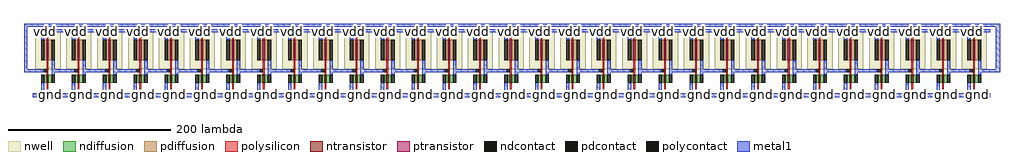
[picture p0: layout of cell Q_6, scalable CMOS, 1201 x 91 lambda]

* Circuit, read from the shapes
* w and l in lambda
.subckt Q_6 gnd vdd
M1 n1 n2 gnd VSUBS nfet w=10 l=2
M2 n3 n1 gnd VSUBS nfet w=10 l=2
M3 n4 n3 gnd VSUBS nfet w=10 l=2
M4 n5 n4 gnd VSUBS nfet w=10 l=2
M5 n6 n5 gnd VSUBS nfet w=10 l=2
M6 n7 n6 gnd VSUBS nfet w=10 l=2
M7 n8 n7 gnd VSUBS nfet w=10 l=2
M8 n9 n8 gnd VSUBS nfet w=10 l=2
M9 n10 n9 gnd VSUBS nfet w=10 l=2
M10 n11 n10 gnd VSUBS nfet w=10 l=2
M11 n12 n11 gnd VSUBS nfet w=10 l=2
M12 n13 n12 gnd VSUBS nfet w=10 l=2
M13 n14 n13 gnd VSUBS nfet w=10 l=2
M14 n15 n14 gnd VSUBS nfet w=10 l=2
M15 n16 n15 gnd VSUBS nfet w=10 l=2
M16 n17 n16 gnd VSUBS nfet w=10 l=2
M17 n18 n17 gnd VSUBS nfet w=10 l=2
M18 n19 n18 gnd VSUBS nfet w=10 l=2
M19 n20 n19 gnd VSUBS nfet w=10 l=2
M20 n21 n20 gnd VSUBS nfet w=10 l=2
M21 n22 n21 gnd VSUBS nfet w=10 l=2
M22 n23 n22 gnd VSUBS nfet w=10 l=2
M23 n24 n23 gnd VSUBS nfet w=10 l=2
M24 n25 n24 gnd VSUBS nfet w=10 l=2
M25 n26 n25 gnd VSUBS nfet w=10 l=2
M26 n27 n26 gnd VSUBS nfet w=10 l=2
M27 n28 n27 gnd VSUBS nfet w=10 l=2
M28 n29 n28 gnd VSUBS nfet w=10 l=2
M29 n30 n29 gnd VSUBS nfet w=10 l=2
M30 n31 n30 gnd VSUBS nfet w=10 l=2
M31 n2 n31 gnd VSUBS nfet w=10 l=2
M32 n1 n2 vdd n32 pfet w=25 l=2
M33 n3 n1 vdd n33 pfet w=25 l=2
M34 n4 n3 vdd n34 pfet w=25 l=2
M35 n5 n4 vdd n35 pfet w=25 l=2
M36 n6 n5 vdd n36 pfet w=25 l=2
M37 n7 n6 vdd n37 pfet w=25 l=2
M38 n8 n7 vdd n38 pfet w=25 l=2
M39 n9 n8 vdd n39 pfet w=25 l=2
M40 n10 n9 vdd n40 pfet w=25 l=2
M41 n11 n10 vdd n41 pfet w=25 l=2
M42 n12 n11 vdd n42 pfet w=25 l=2
M43 n13 n12 vdd n43 pfet w=25 l=2
M44 n14 n13 vdd n44 pfet w=25 l=2
M45 n15 n14 vdd n45 pfet w=25 l=2
M46 n16 n15 vdd n46 pfet w=25 l=2
M47 n17 n16 vdd n47 pfet w=25 l=2
M48 n18 n17 vdd n48 pfet w=25 l=2
M49 n19 n18 vdd n49 pfet w=25 l=2
M50 n20 n19 vdd n50 pfet w=25 l=2
M51 n21 n20 vdd n51 pfet w=25 l=2
M52 n22 n21 vdd n52 pfet w=25 l=2
M53 n23 n22 vdd n53 pfet w=25 l=2
M54 n24 n23 vdd n54 pfet w=25 l=2
M55 n25 n24 vdd n55 pfet w=25 l=2
M56 n26 n25 vdd n56 pfet w=25 l=2
M57 n27 n26 vdd n57 pfet w=25 l=2
M58 n28 n27 vdd n58 pfet w=25 l=2
M59 n29 n28 vdd n59 pfet w=25 l=2
M60 n30 n29 vdd n60 pfet w=25 l=2
M61 n31 n30 vdd n61 pfet w=25 l=2
M62 n2 n31 vdd n62 pfet w=25 l=2
.ends

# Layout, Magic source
magic
tech scmos
<< nwell >>
rect -14 -10 17 36
rect 24 -10 55 36
rect 62 -10 93 36
rect 100 -10 131 36
rect 138 -10 169 36
rect 176 -10 207 36
rect 214 -10 245 36
rect 252 -10 283 36
rect 290 -10 321 36
rect 328 -10 359 36
rect 366 -10 397 36
rect 404 -10 435 36
rect 442 -10 473 36
rect 480 -10 511 36
rect 518 -10 549 36
rect 556 -10 587 36
rect 594 -10 625 36
rect 632 -10 663 36
rect 670 -10 701 36
rect 708 -10 739 36
rect 746 -10 777 36
rect 784 -10 815 36
rect 822 -10 853 36
rect 860 -10 891 36
rect 898 -10 929 36
rect 936 -10 967 36
rect 974 -10 1005 36
rect 1012 -10 1043 36
rect 1050 -10 1081 36
rect 1088 -10 1119 36
rect 1126 -10 1157 36
<< ntransistor >>
rect 0 -27 2 -17
rect 38 -27 40 -17
rect 76 -27 78 -17
rect 114 -27 116 -17
rect 152 -27 154 -17
rect 190 -27 192 -17
rect 228 -27 230 -17
rect 266 -27 268 -17
rect 304 -27 306 -17
rect 342 -27 344 -17
rect 380 -27 382 -17
rect 418 -27 420 -17
rect 456 -27 458 -17
rect 494 -27 496 -17
rect 532 -27 534 -17
rect 570 -27 572 -17
rect 608 -27 610 -17
rect 646 -27 648 -17
rect 684 -27 686 -17
rect 722 -27 724 -17
rect 760 -27 762 -17
rect 798 -27 800 -17
rect 836 -27 838 -17
rect 874 -27 876 -17
rect 912 -27 914 -17
rect 950 -27 952 -17
rect 988 -27 990 -17
rect 1026 -27 1028 -17
rect 1064 -27 1066 -17
rect 1102 -27 1104 -17
rect 1140 -27 1142 -17
<< ptransistor >>
rect 0 1 2 26
rect 38 1 40 26
rect 76 1 78 26
rect 114 1 116 26
rect 152 1 154 26
rect 190 1 192 26
rect 228 1 230 26
rect 266 1 268 26
rect 304 1 306 26
rect 342 1 344 26
rect 380 1 382 26
rect 418 1 420 26
rect 456 1 458 26
rect 494 1 496 26
rect 532 1 534 26
rect 570 1 572 26
rect 608 1 610 26
rect 646 1 648 26
rect 684 1 686 26
rect 722 1 724 26
rect 760 1 762 26
rect 798 1 800 26
rect 836 1 838 26
rect 874 1 876 26
rect 912 1 914 26
rect 950 1 952 26
rect 988 1 990 26
rect 1026 1 1028 26
rect 1064 1 1066 26
rect 1102 1 1104 26
rect 1140 1 1142 26
<< ndiffusion >>
rect -3 -27 0 -17
rect 2 -27 6 -17
rect 35 -27 38 -17
rect 40 -27 44 -17
rect 73 -27 76 -17
rect 78 -27 82 -17
rect 111 -27 114 -17
rect 116 -27 120 -17
rect 149 -27 152 -17
rect 154 -27 158 -17
rect 187 -27 190 -17
rect 192 -27 196 -17
rect 225 -27 228 -17
rect 230 -27 234 -17
rect 263 -27 266 -17
rect 268 -27 272 -17
rect 301 -27 304 -17
rect 306 -27 310 -17
rect 339 -27 342 -17
rect 344 -27 348 -17
rect 377 -27 380 -17
rect 382 -27 386 -17
rect 415 -27 418 -17
rect 420 -27 424 -17
rect 453 -27 456 -17
rect 458 -27 462 -17
rect 491 -27 494 -17
rect 496 -27 500 -17
rect 529 -27 532 -17
rect 534 -27 538 -17
rect 567 -27 570 -17
rect 572 -27 576 -17
rect 605 -27 608 -17
rect 610 -27 614 -17
rect 643 -27 646 -17
rect 648 -27 652 -17
rect 681 -27 684 -17
rect 686 -27 690 -17
rect 719 -27 722 -17
rect 724 -27 728 -17
rect 757 -27 760 -17
rect 762 -27 766 -17
rect 795 -27 798 -17
rect 800 -27 804 -17
rect 833 -27 836 -17
rect 838 -27 842 -17
rect 871 -27 874 -17
rect 876 -27 880 -17
rect 909 -27 912 -17
rect 914 -27 918 -17
rect 947 -27 950 -17
rect 952 -27 956 -17
rect 985 -27 988 -17
rect 990 -27 994 -17
rect 1023 -27 1026 -17
rect 1028 -27 1032 -17
rect 1061 -27 1064 -17
rect 1066 -27 1070 -17
rect 1099 -27 1102 -17
rect 1104 -27 1108 -17
rect 1137 -27 1140 -17
rect 1142 -27 1146 -17
<< pdiffusion >>
rect -3 1 0 26
rect 2 1 6 26
rect 35 1 38 26
rect 40 1 44 26
rect 73 1 76 26
rect 78 1 82 26
rect 111 1 114 26
rect 116 1 120 26
rect 149 1 152 26
rect 154 1 158 26
rect 187 1 190 26
rect 192 1 196 26
rect 225 1 228 26
rect 230 1 234 26
rect 263 1 266 26
rect 268 1 272 26
rect 301 1 304 26
rect 306 1 310 26
rect 339 1 342 26
rect 344 1 348 26
rect 377 1 380 26
rect 382 1 386 26
rect 415 1 418 26
rect 420 1 424 26
rect 453 1 456 26
rect 458 1 462 26
rect 491 1 494 26
rect 496 1 500 26
rect 529 1 532 26
rect 534 1 538 26
rect 567 1 570 26
rect 572 1 576 26
rect 605 1 608 26
rect 610 1 614 26
rect 643 1 646 26
rect 648 1 652 26
rect 681 1 684 26
rect 686 1 690 26
rect 719 1 722 26
rect 724 1 728 26
rect 757 1 760 26
rect 762 1 766 26
rect 795 1 798 26
rect 800 1 804 26
rect 833 1 836 26
rect 838 1 842 26
rect 871 1 874 26
rect 876 1 880 26
rect 909 1 912 26
rect 914 1 918 26
rect 947 1 950 26
rect 952 1 956 26
rect 985 1 988 26
rect 990 1 994 26
rect 1023 1 1026 26
rect 1028 1 1032 26
rect 1061 1 1064 26
rect 1066 1 1070 26
rect 1099 1 1102 26
rect 1104 1 1108 26
rect 1137 1 1140 26
rect 1142 1 1146 26
<< ndcontact >>
rect -7 -27 -3 -17
rect 6 -27 10 -17
rect 31 -27 35 -17
rect 44 -27 48 -17
rect 69 -27 73 -17
rect 82 -27 86 -17
rect 107 -27 111 -17
rect 120 -27 124 -17
rect 145 -27 149 -17
rect 158 -27 162 -17
rect 183 -27 187 -17
rect 196 -27 200 -17
rect 221 -27 225 -17
rect 234 -27 238 -17
rect 259 -27 263 -17
rect 272 -27 276 -17
rect 297 -27 301 -17
rect 310 -27 314 -17
rect 335 -27 339 -17
rect 348 -27 352 -17
rect 373 -27 377 -17
rect 386 -27 390 -17
rect 411 -27 415 -17
rect 424 -27 428 -17
rect 449 -27 453 -17
rect 462 -27 466 -17
rect 487 -27 491 -17
rect 500 -27 504 -17
rect 525 -27 529 -17
rect 538 -27 542 -17
rect 563 -27 567 -17
rect 576 -27 580 -17
rect 601 -27 605 -17
rect 614 -27 618 -17
rect 639 -27 643 -17
rect 652 -27 656 -17
rect 677 -27 681 -17
rect 690 -27 694 -17
rect 715 -27 719 -17
rect 728 -27 732 -17
rect 753 -27 757 -17
rect 766 -27 770 -17
rect 791 -27 795 -17
rect 804 -27 808 -17
rect 829 -27 833 -17
rect 842 -27 846 -17
rect 867 -27 871 -17
rect 880 -27 884 -17
rect 905 -27 909 -17
rect 918 -27 922 -17
rect 943 -27 947 -17
rect 956 -27 960 -17
rect 981 -27 985 -17
rect 994 -27 998 -17
rect 1019 -27 1023 -17
rect 1032 -27 1036 -17
rect 1057 -27 1061 -17
rect 1070 -27 1074 -17
rect 1095 -27 1099 -17
rect 1108 -27 1112 -17
rect 1133 -27 1137 -17
rect 1146 -27 1150 -17
<< pdcontact >>
rect -7 1 -3 26
rect 6 1 10 26
rect 31 1 35 26
rect 44 1 48 26
rect 69 1 73 26
rect 82 1 86 26
rect 107 1 111 26
rect 120 1 124 26
rect 145 1 149 26
rect 158 1 162 26
rect 183 1 187 26
rect 196 1 200 26
rect 221 1 225 26
rect 234 1 238 26
rect 259 1 263 26
rect 272 1 276 26
rect 297 1 301 26
rect 310 1 314 26
rect 335 1 339 26
rect 348 1 352 26
rect 373 1 377 26
rect 386 1 390 26
rect 411 1 415 26
rect 424 1 428 26
rect 449 1 453 26
rect 462 1 466 26
rect 487 1 491 26
rect 500 1 504 26
rect 525 1 529 26
rect 538 1 542 26
rect 563 1 567 26
rect 576 1 580 26
rect 601 1 605 26
rect 614 1 618 26
rect 639 1 643 26
rect 652 1 656 26
rect 677 1 681 26
rect 690 1 694 26
rect 715 1 719 26
rect 728 1 732 26
rect 753 1 757 26
rect 766 1 770 26
rect 791 1 795 26
rect 804 1 808 26
rect 829 1 833 26
rect 842 1 846 26
rect 867 1 871 26
rect 880 1 884 26
rect 905 1 909 26
rect 918 1 922 26
rect 943 1 947 26
rect 956 1 960 26
rect 981 1 985 26
rect 994 1 998 26
rect 1019 1 1023 26
rect 1032 1 1036 26
rect 1057 1 1061 26
rect 1070 1 1074 26
rect 1095 1 1099 26
rect 1108 1 1112 26
rect 1133 1 1137 26
rect 1146 1 1150 26
<< polysilicon >>
rect 0 26 2 30
rect 38 26 40 30
rect 76 26 78 30
rect 114 26 116 30
rect 152 26 154 30
rect 190 26 192 30
rect 228 26 230 30
rect 266 26 268 30
rect 304 26 306 30
rect 342 26 344 30
rect 380 26 382 30
rect 418 26 420 30
rect 456 26 458 30
rect 494 26 496 30
rect 532 26 534 30
rect 570 26 572 30
rect 608 26 610 30
rect 646 26 648 30
rect 684 26 686 30
rect 722 26 724 30
rect 760 26 762 30
rect 798 26 800 30
rect 836 26 838 30
rect 874 26 876 30
rect 912 26 914 30
rect 950 26 952 30
rect 988 26 990 30
rect 1026 26 1028 30
rect 1064 26 1066 30
rect 1102 26 1104 30
rect 1140 26 1142 30
rect 0 -17 2 1
rect 38 -17 40 1
rect 76 -17 78 1
rect 114 -17 116 1
rect 152 -17 154 1
rect 190 -17 192 1
rect 228 -17 230 1
rect 266 -17 268 1
rect 304 -17 306 1
rect 342 -17 344 1
rect 380 -17 382 1
rect 418 -17 420 1
rect 456 -17 458 1
rect 494 -17 496 1
rect 532 -17 534 1
rect 570 -17 572 1
rect 608 -17 610 1
rect 646 -17 648 1
rect 684 -17 686 1
rect 722 -17 724 1
rect 760 -17 762 1
rect 798 -17 800 1
rect 836 -17 838 1
rect 874 -17 876 1
rect 912 -17 914 1
rect 950 -17 952 1
rect 988 -17 990 1
rect 1026 -17 1028 1
rect 1064 -17 1066 1
rect 1102 -17 1104 1
rect 1140 -17 1142 1
rect 0 -35 2 -27
rect 38 -35 40 -27
rect 76 -35 78 -27
rect 114 -35 116 -27
rect 152 -35 154 -27
rect 190 -35 192 -27
rect 228 -35 230 -27
rect 266 -35 268 -27
rect 304 -35 306 -27
rect 342 -35 344 -27
rect 380 -35 382 -27
rect 418 -35 420 -27
rect 456 -35 458 -27
rect 494 -35 496 -27
rect 532 -35 534 -27
rect 570 -35 572 -27
rect 608 -35 610 -27
rect 646 -35 648 -27
rect 684 -35 686 -27
rect 722 -35 724 -27
rect 760 -35 762 -27
rect 798 -35 800 -27
rect 836 -35 838 -27
rect 874 -35 876 -27
rect 912 -35 914 -27
rect 950 -35 952 -27
rect 988 -35 990 -27
rect 1026 -35 1028 -27
rect 1064 -35 1066 -27
rect 1102 -35 1104 -27
rect 1140 -35 1142 -27
<< polycontact >>
rect -4 -14 0 -10
rect 34 -14 38 -10
rect 72 -14 76 -10
rect 110 -14 114 -10
rect 148 -14 152 -10
rect 186 -14 190 -10
rect 224 -14 228 -10
rect 262 -14 266 -10
rect 300 -14 304 -10
rect 338 -14 342 -10
rect 376 -14 380 -10
rect 414 -14 418 -10
rect 452 -14 456 -10
rect 490 -14 494 -10
rect 528 -14 532 -10
rect 566 -14 570 -10
rect 604 -14 608 -10
rect 642 -14 646 -10
rect 680 -14 684 -10
rect 718 -14 722 -10
rect 756 -14 760 -10
rect 794 -14 798 -10
rect 832 -14 836 -10
rect 870 -14 874 -10
rect 908 -14 912 -10
rect 946 -14 950 -10
rect 984 -14 988 -10
rect 1022 -14 1026 -10
rect 1060 -14 1064 -10
rect 1098 -14 1102 -10
rect 1136 -14 1140 -10
<< metal1 >>
rect -28 42 1173 46
rect -28 -10 -24 42
rect -17 35 1161 39
rect -7 26 -3 35
rect 31 26 35 35
rect 69 26 73 35
rect 107 26 111 35
rect 145 26 149 35
rect 183 26 187 35
rect 221 26 225 35
rect 259 26 263 35
rect 297 26 301 35
rect 335 26 339 35
rect 373 26 377 35
rect 411 26 415 35
rect 449 26 453 35
rect 487 26 491 35
rect 525 26 529 35
rect 563 26 567 35
rect 601 26 605 35
rect 639 26 643 35
rect 677 26 681 35
rect 715 26 719 35
rect 753 26 757 35
rect 791 26 795 35
rect 829 26 833 35
rect 867 26 871 35
rect 905 26 909 35
rect 943 26 947 35
rect 981 26 985 35
rect 1019 26 1023 35
rect 1057 26 1061 35
rect 1095 26 1099 35
rect 1133 26 1137 35
rect 6 -10 10 1
rect 44 -10 48 1
rect 82 -10 86 1
rect 120 -10 124 1
rect 158 -10 162 1
rect 196 -10 200 1
rect 234 -10 238 1
rect 272 -10 276 1
rect 310 -10 314 1
rect 348 -10 352 1
rect 386 -10 390 1
rect 424 -10 428 1
rect 462 -10 466 1
rect 500 -10 504 1
rect 538 -10 542 1
rect 576 -10 580 1
rect 614 -10 618 1
rect 652 -10 656 1
rect 690 -10 694 1
rect 728 -10 732 1
rect 766 -10 770 1
rect 804 -10 808 1
rect 842 -10 846 1
rect 880 -10 884 1
rect 918 -10 922 1
rect 956 -10 960 1
rect 994 -10 998 1
rect 1032 -10 1036 1
rect 1070 -10 1074 1
rect 1108 -10 1112 1
rect 1146 -10 1150 1
rect 1168 -10 1173 42
rect -28 -14 -4 -10
rect 6 -14 34 -10
rect 44 -14 72 -10
rect 82 -14 110 -10
rect 120 -14 148 -10
rect 158 -14 186 -10
rect 196 -14 224 -10
rect 234 -14 262 -10
rect 272 -14 300 -10
rect 310 -14 338 -10
rect 348 -14 376 -10
rect 386 -14 414 -10
rect 424 -14 452 -10
rect 462 -14 490 -10
rect 500 -14 528 -10
rect 538 -14 566 -10
rect 576 -14 604 -10
rect 614 -14 642 -10
rect 652 -14 680 -10
rect 690 -14 718 -10
rect 728 -14 756 -10
rect 766 -14 794 -10
rect 804 -14 832 -10
rect 842 -14 870 -10
rect 880 -14 908 -10
rect 918 -14 946 -10
rect 956 -14 984 -10
rect 994 -14 1022 -10
rect 1032 -14 1060 -10
rect 1070 -14 1098 -10
rect 1108 -14 1136 -10
rect 1146 -14 1173 -10
rect 6 -17 10 -14
rect 44 -17 48 -14
rect 82 -17 86 -14
rect 120 -17 124 -14
rect 158 -17 162 -14
rect 196 -17 200 -14
rect 234 -17 238 -14
rect 272 -17 276 -14
rect 310 -17 314 -14
rect 348 -17 352 -14
rect 386 -17 390 -14
rect 424 -17 428 -14
rect 462 -17 466 -14
rect 500 -17 504 -14
rect 538 -17 542 -14
rect 576 -17 580 -14
rect 614 -17 618 -14
rect 652 -17 656 -14
rect 690 -17 694 -14
rect 728 -17 732 -14
rect 766 -17 770 -14
rect 804 -17 808 -14
rect 842 -17 846 -14
rect 880 -17 884 -14
rect 918 -17 922 -14
rect 956 -17 960 -14
rect 994 -17 998 -14
rect 1032 -17 1036 -14
rect 1070 -17 1074 -14
rect 1108 -17 1112 -14
rect 1146 -17 1150 -14
rect -7 -40 -3 -27
rect 31 -40 35 -27
rect 69 -40 73 -27
rect 107 -40 111 -27
rect 145 -40 149 -27
rect 183 -40 187 -27
rect 221 -40 225 -27
rect 259 -40 263 -27
rect 297 -40 301 -27
rect 335 -40 339 -27
rect 373 -40 377 -27
rect 411 -40 415 -27
rect 449 -40 453 -27
rect 487 -40 491 -27
rect 525 -40 529 -27
rect 563 -40 567 -27
rect 601 -40 605 -27
rect 639 -40 643 -27
rect 677 -40 681 -27
rect 715 -40 719 -27
rect 753 -40 757 -27
rect 791 -40 795 -27
rect 829 -40 833 -27
rect 867 -40 871 -27
rect 905 -40 909 -27
rect 943 -40 947 -27
rect 981 -40 985 -27
rect 1019 -40 1023 -27
rect 1057 -40 1061 -27
rect 1095 -40 1099 -27
rect 1133 -40 1137 -27
rect -17 -45 1161 -40
<< labels >>
rlabel metal1 -3 36 1 37 5 vdd
rlabel metal1 3 -42 7 -41 1 gnd
rlabel metal1 35 36 39 37 5 vdd
rlabel metal1 41 -42 45 -41 1 gnd
rlabel metal1 73 36 77 37 5 vdd
rlabel metal1 79 -42 83 -41 1 gnd
rlabel metal1 111 36 115 37 5 vdd
rlabel metal1 117 -42 121 -41 1 gnd
rlabel metal1 149 36 153 37 5 vdd
rlabel metal1 155 -42 159 -41 1 gnd
rlabel metal1 187 36 191 37 5 vdd
rlabel metal1 193 -42 197 -41 1 gnd
rlabel metal1 225 36 229 37 5 vdd
rlabel metal1 231 -42 235 -41 1 gnd
rlabel metal1 263 36 267 37 5 vdd
rlabel metal1 269 -42 273 -41 1 gnd
rlabel metal1 301 36 305 37 5 vdd
rlabel metal1 307 -42 311 -41 1 gnd
rlabel metal1 339 36 343 37 5 vdd
rlabel metal1 345 -42 349 -41 1 gnd
rlabel metal1 377 36 381 37 5 vdd
rlabel metal1 383 -42 387 -41 1 gnd
rlabel metal1 415 36 419 37 5 vdd
rlabel metal1 421 -42 425 -41 1 gnd
rlabel metal1 453 36 457 37 5 vdd
rlabel metal1 459 -42 463 -41 1 gnd
rlabel metal1 491 36 495 37 5 vdd
rlabel metal1 497 -42 501 -41 1 gnd
rlabel metal1 529 36 533 37 5 vdd
rlabel metal1 535 -42 539 -41 1 gnd
rlabel metal1 567 36 571 37 5 vdd
rlabel metal1 573 -42 577 -41 1 gnd
rlabel metal1 605 36 609 37 5 vdd
rlabel metal1 611 -42 615 -41 1 gnd
rlabel metal1 643 36 647 37 5 vdd
rlabel metal1 649 -42 653 -41 1 gnd
rlabel metal1 681 36 685 37 5 vdd
rlabel metal1 687 -42 691 -41 1 gnd
rlabel metal1 719 36 723 37 5 vdd
rlabel metal1 725 -42 729 -41 1 gnd
rlabel metal1 757 36 761 37 5 vdd
rlabel metal1 763 -42 767 -41 1 gnd
rlabel metal1 795 36 799 37 5 vdd
rlabel metal1 801 -42 805 -41 1 gnd
rlabel metal1 833 36 837 37 5 vdd
rlabel metal1 839 -42 843 -41 1 gnd
rlabel metal1 871 36 875 37 5 vdd
rlabel metal1 877 -42 881 -41 1 gnd
rlabel metal1 909 36 913 37 5 vdd
rlabel metal1 915 -42 919 -41 1 gnd
rlabel metal1 947 36 951 37 5 vdd
rlabel metal1 953 -42 957 -41 1 gnd
rlabel metal1 985 36 989 37 5 vdd
rlabel metal1 991 -42 995 -41 1 gnd
rlabel metal1 1023 36 1027 37 5 vdd
rlabel metal1 1029 -42 1033 -41 1 gnd
rlabel metal1 1061 36 1065 37 5 vdd
rlabel metal1 1067 -42 1071 -41 1 gnd
rlabel metal1 1099 36 1103 37 5 vdd
rlabel metal1 1105 -42 1109 -41 1 gnd
rlabel metal1 1137 36 1141 37 5 vdd
rlabel metal1 1143 -42 1147 -41 1 gnd
<< end >>
